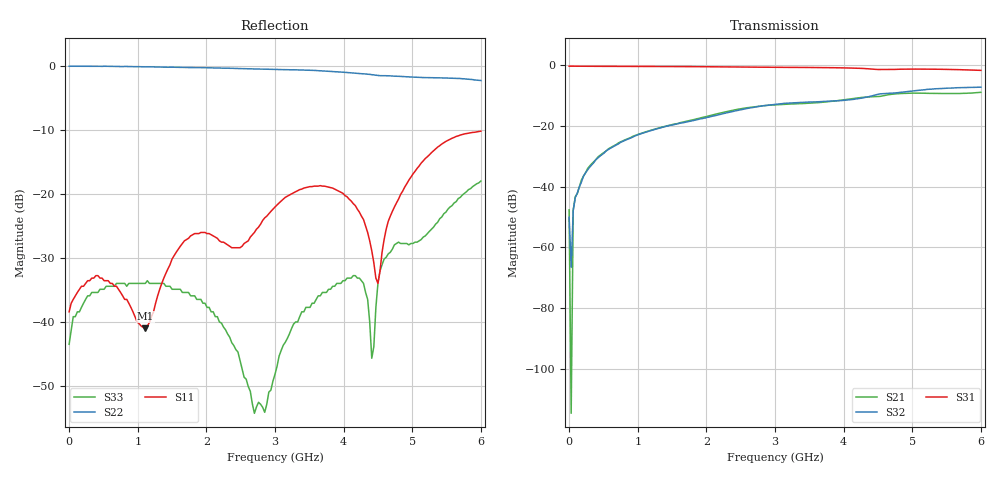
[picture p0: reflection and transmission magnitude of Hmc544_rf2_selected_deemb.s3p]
!Hittite Microwave Corporation
!20 Alpha Rd
!Chelmsford, MA 01824
!Tel: 978-250-3343
!Fax: 978-250-3373
!Device: HMC544, DC - 3 GHz  SPDT Switch in  SOT26 SMT package
!Misc: Port1=RFC, Port2= RF1, Port3=RF2, RF1 ON, Data taken on a part mounted on 101659-4 Eval PCB,Bias: +5VDC
# MHZ S MA R 50
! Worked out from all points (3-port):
!   201 points, 50 kHz to 6 GHz, reference 50 ohm
!   strongest paths, dB at 50 kHz, 1.5 GHz, 3 GHz, 4.5 GHz, 6 GHz:
!     S31: -0.2, -0.4, -0.6, -1.3, -1.6
!     S32: -50.1, -19.7, -12.8, -9.5, -7.2
!     S21: -47.6, -19.5, -13.0, -10.3, -8.8
!   lowest |S11| = -41.0 dB at 1.11 GHz (marker M1), VSWR 1.02, Z = 49.5 - j0.744 ohm
!   |S11| at or under -10 dB: start of sweep to end of sweep
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0.05  0.012 -0.2  0.004318 -61.1  0.973 -0.1
      0.004156 -45.9  0.993 -0.7  0.003807 -35.7
      0.974 -0.1  0.003125 -63.7  0.006697 2.5
30.05  0.014 4.6  3.169e-05 -65.1  0.973 -1.3
       1.835e-06 -56.6  0.993 -1.7  2.196e-05 -48.7
       0.974 -1.3  0.0004674 113.8  0.008604 3.9
60.049  0.015 9.6  0.004259 110.5  0.974 -2.5
        0.004156 113.0  0.994 -2.7  0.00377 118.4
        0.974 -2.5  0.004068 111.2  0.011 6.1
180.049  0.019 12.7  0.013 92.6  0.972 -7.2
         0.013 91.5  0.993 -7.8  0.013 92.4
         0.972 -7.2  0.012 91.9  0.013 23.9
1110.041  0.008909 -122.5  0.08 48.0  0.962 -42.3
          0.08 47.9  0.982 -47.5  0.079 43.1
          0.963 -42.3  0.079 43.0  0.02 1.2
3000.025  0.079 164.6  0.224 -29.3  0.936 -114.3
          0.224 -29.3  0.938 -129.6  0.231 -39.8
          0.934 -114.3  0.229 -40.2  0.003904 121.7
4140.015  0.084 15.8  0.284 -70.2  0.905 -160.1
          0.286 -70.4  0.879 176.3  0.277 -88.8
          0.905 -160.0  0.276 -88.2  0.023 55.9
4410.013  0.036 -1.1  0.304 -82.2  0.87 -171.2
          0.305 -82.5  0.853 163.6  0.315 -97.9
          0.872 -171.1  0.314 -97.2  0.005205 46.5
4500.012  0.02 43.2  0.306 -85.5  0.855 -173.8
          0.307 -85.8  0.842 159.8  0.335 -103.1
          0.858 -173.7  0.335 -102.2  0.02 126.4
6000  0.309 -8.3  0.364 -149.1  0.828 123.2
      0.361 -148.8  0.768 93.2  0.435 177.2
      0.831 123.1  0.439 176.9  0.126 26.6
